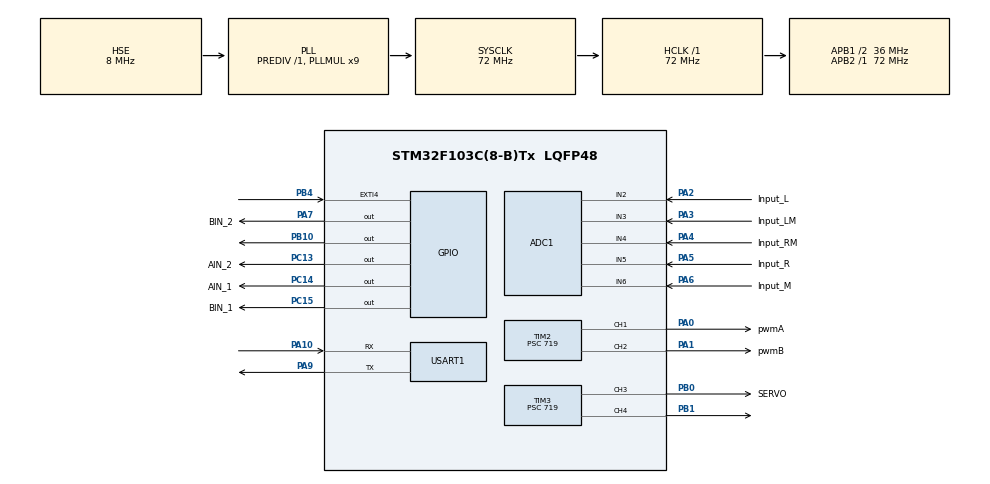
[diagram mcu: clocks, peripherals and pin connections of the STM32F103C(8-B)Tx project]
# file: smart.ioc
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ADC1.Channel-0\#ChannelRegularConversion=ADC_CHANNEL_3
ADC1.Channel-2\#ChannelRegularConversion=ADC_CHANNEL_4
ADC1.Channel-3\#ChannelRegularConversion=ADC_CHANNEL_5
ADC1.Channel-4\#ChannelRegularConversion=ADC_CHANNEL_6
ADC1.Channel-5\#ChannelRegularConversion=ADC_CHANNEL_2
ADC1.ContinuousConvMode=ENABLE
ADC1.NbrOfConversion=5
ADC1.NbrOfConversionFlag=1
ADC1.Rank-0\#ChannelRegularConversion=1
ADC1.Rank-2\#ChannelRegularConversion=2
ADC1.Rank-3\#ChannelRegularConversion=3
ADC1.Rank-4\#ChannelRegularConversion=4
ADC1.Rank-5\#ChannelRegularConversion=5
ADC1.SamplingTime-0\#ChannelRegularConversion=ADC_SAMPLETIME_239CYCLES_5
ADC1.SamplingTime-2\#ChannelRegularConversion=ADC_SAMPLETIME_239CYCLES_5
ADC1.SamplingTime-3\#ChannelRegularConversion=ADC_SAMPLETIME_239CYCLES_5
ADC1.SamplingTime-4\#ChannelRegularConversion=ADC_SAMPLETIME_239CYCLES_5
ADC1.SamplingTime-5\#ChannelRegularConversion=ADC_SAMPLETIME_239CYCLES_5
ADC1.master=1
Dma.ADC1.0.Direction=DMA_PERIPH_TO_MEMORY
Dma.ADC1.0.Instance=DMA1_Channel1
Dma.ADC1.0.MemDataAlignment=DMA_MDATAALIGN_HALFWORD
Dma.ADC1.0.MemInc=DMA_MINC_ENABLE
Dma.ADC1.0.Mode=DMA_CIRCULAR
Dma.ADC1.0.PeriphDataAlignment=DMA_PDATAALIGN_HALFWORD
Dma.ADC1.0.PeriphInc=DMA_PINC_DISABLE
Dma.ADC1.0.Priority=DMA_PRIORITY_HIGH
Dma.Request0=ADC1
Mcu.Family=STM32F1
Mcu.Name=STM32F103C(8-B)Tx
Mcu.Package=LQFP48
NVIC.ADC1_2_IRQn=true\:0\:0\:false\:false\:true\:true\:true\:true
NVIC.DMA1_Channel1_IRQn=true\:0\:0\:false\:false\:true\:false\:true\:true
NVIC.EXTI4_IRQn=true\:0\:0\:false\:false\:true\:true\:true\:true
NVIC.PriorityGroup=NVIC_PRIORITYGROUP_4
NVIC.TIM3_IRQn=true\:1\:0\:true\:false\:true\:true\:true\:true
NVIC.USART1_IRQn=true\:2\:0\:true\:false\:true\:true\:true\:true
PA0-WKUP.GPIO_Label=pwmA
PA0-WKUP.Signal=S_TIM2_CH1_ETR
PA1.GPIO_Label=pwmB
PA1.Signal=S_TIM2_CH2
PA10.Mode=Asynchronous
PA10.Signal=USART1_RX
PA2.GPIO_Label=Input_L
PA2.Signal=ADCx_IN2
PA3.GPIO_Label=Input_LM
PA3.Signal=ADCx_IN3
PA4.GPIO_Label=Input_RM
PA4.Signal=ADCx_IN4
PA5.GPIO_Label=Input_R
PA5.Signal=ADCx_IN5
PA6.GPIO_Label=Input_M
PA6.Signal=ADCx_IN6
PA7.GPIO_Label=BIN_2
PA7.Signal=GPIO_Output
PA9.Mode=Asynchronous
PA9.Signal=USART1_TX
PB0.GPIO_Label=SERVO
PB0.Signal=S_TIM3_CH3
PB1.Signal=S_TIM3_CH4
PB10.Signal=GPIO_Output
PB4.Signal=GPXTI4
PC13-TAMPER-RTC.GPIO_Label=AIN_2
PC13-TAMPER-RTC.Signal=GPIO_Output
PC14-OSC32_IN.GPIO_Label=AIN_1
PC14-OSC32_IN.Signal=GPIO_Output
PC15-OSC32_OUT.GPIO_Label=BIN_1
PC15-OSC32_OUT.Signal=GPIO_Output
PD0-OSC_IN.Mode=HSE-External-Oscillator
PD0-OSC_IN.Signal=RCC_OSC_IN
PD1-OSC_OUT.Mode=HSE-External-Oscillator
PD1-OSC_OUT.Signal=RCC_OSC_OUT
ProjectManager.HeapSize=0x200
ProjectManager.StackSize=0x400
ProjectManager.TargetToolchain=STM32CubeIDE
RCC.ADCPresc=RCC_ADCPCLK2_DIV6
RCC.AHBFreq_Value=72000000
RCC.APB1CLKDivider=RCC_HCLK_DIV2
RCC.APB1Freq_Value=36000000
RCC.APB1TimFreq_Value=72000000
RCC.APB2Freq_Value=72000000
RCC.APB2TimFreq_Value=72000000
RCC.HCLKFreq_Value=72000000
RCC.PLLMUL=RCC_PLL_MUL9
RCC.PLLSourceVirtual=RCC_PLLSOURCE_HSE
RCC.SYSCLKFreq_VALUE=72000000
RCC.SYSCLKSource=RCC_SYSCLKSOURCE_PLLCLK
RCC.USBFreq_Value=72000000
SH.ADCx_IN2.0=ADC1_IN2,IN2
SH.ADCx_IN3.0=ADC1_IN3,IN3
SH.ADCx_IN4.0=ADC1_IN4,IN4
SH.ADCx_IN5.0=ADC1_IN5,IN5
SH.ADCx_IN6.0=ADC1_IN6,IN6
SH.S_TIM2_CH1_ETR.0=TIM2_CH1,PWM Generation1 CH1
SH.S_TIM2_CH2.0=TIM2_CH2,PWM Generation2 CH2
SH.S_TIM3_CH3.0=TIM3_CH3,PWM Generation3 CH3
SH.S_TIM3_CH4.0=TIM3_CH4,PWM Generation4 CH4
TIM2.Channel-PWM\ Generation1\ CH1=TIM_CHANNEL_1
TIM2.Channel-PWM\ Generation2\ CH2=TIM_CHANNEL_2
TIM2.OCMode_PWM-PWM\ Generation1\ CH1=TIM_OCMODE_PWM1
TIM2.OCMode_PWM-PWM\ Generation2\ CH2=TIM_OCMODE_PWM1
TIM2.Period=1999
TIM2.Prescaler=719
TIM3.AutoReloadPreload=TIM_AUTORELOAD_PRELOAD_DISABLE
TIM3.Channel-PWM\ Generation3\ CH3=TIM_CHANNEL_3
TIM3.Channel-PWM\ Generation4\ CH4=TIM_CHANNEL_4
TIM3.OCMode_PWM-PWM\ Generation3\ CH3=TIM_OCMODE_PWM2
TIM3.OCMode_PWM-PWM\ Generation4\ CH4=TIM_OCMODE_PWM2
TIM3.Period=1999
TIM3.Prescaler=719
USART1.VirtualMode=VM_ASYNC
VP_SYS_VS_ND.Mode=No_Debug
VP_TIM2_VS_ClockSourceINT.Mode=Internal
VP_TIM3_VS_ClockSourceINT.Mode=Internal
board=custom

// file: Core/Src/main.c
/* USER CODE BEGIN Header */
/**
  ******************************************************************************
  * @file           : main.c
  * @brief          : Main program body
  ******************************************************************************
  * @attention
  *
  * Copyright (c) 2023 STMicroelectronics.
  * All rights reserved.
  *
  * This software is licensed under terms that can be found in the LICENSE file
  * in the root directory of this software component.
  * If no LICENSE file comes with this software, it is provided AS-IS.
  *
  ******************************************************************************
  */
/* USER CODE END Header */
#include "main.h"
#include "adc.h"
#include "dma.h"
#include "tim.h"
#include "usart.h"
#include "gpio.h"

/* USER CODE BEGIN Includes */
#include "pidcontrol.h"
#include <math.h>
#include <string.h>
#include <stdio.h>
#include "relocated.h" //重定向printf到串�????
#include "servo.h"
#include "queue.h"
#include "stringProcess.h"
/* USER CODE END Includes */

/* USER CODE BEGIN PD */
#pragma clang diagnostic push
#pragma ide diagnostic ignored "EndlessLoop"
#define RXBUFFERSIZE 32
/* USER CODE END PD */

/* USER CODE BEGIN PV */
uint16_t adc_value[25] = {0}; // 保存ADC采样�????
/* USER CODE END PV */

void SystemClock_Config(void);

/* USER CODE BEGIN 0 */
_Bool initFlag = 1;
_Bool crossFlag = 0;
uint8_t forkFlag = 0;
short stopFlag = 0;
char rxBuffer;
char RxBuffer[RXBUFFERSIZE];
uint16_t count = 0;
//float middleValue[10] = {0};
int Uart1_Rx_Cnt = 0;
int middleValueCount = 0;
//Queue middleValueQueue;
float middleResult = 0;
PID piddata;
//FuzzyPID piddata;
float speed = Startup_Speed;
_Bool auto_mode = 1;
//过滤后的数据
float dat_L = 0;
float dat_LM = 0;
float dat_RM = 0;
float dat_R = 0;
float angle = 0;
//过滤算法缓冲�????
RollingMeanFilter da0, da1, da2, da3, da4,dac;
_Bool isRound = 0;
uint8_t roundCount = 0;
uint8_t crossCount = 0;
uint8_t tiggerCount = 0;
_Bool roundFlag1 = 0;
_Bool roundFlag2 = 0;
_Bool isRightRound = 0;
_Bool TimerRoundEN = 0;
_Bool TimerCrossEN = 0;
_Bool isEnd = 0;
uint32_t TimerCount = 0;
uint32_t TimerCorssCount = 0;
float offset = 0;
float N_fabs(float d);

/* USER CODE END 0 */

int main(void)
{
  /* USER CODE BEGIN 1 */
//Q: 请问adrc算法的数学原理是�????么？

  /* USER CODE END 1 */

  /* MCU Configuration--------------------------------------------------------*/

  /* Reset of all peripherals, Initializes the Flash interface and the Systick. */
  HAL_Init();

  /* USER CODE BEGIN Init */
    float df0[10] = {0}, df1[10] = {0}, df2[10] = {0}, df3[10] = {0}, df4[10] = {0},dat_c[200] = {0};
    RollingMeanFilter_init(&da0, df0, 10);
    RollingMeanFilter_init(&da1, df1, 10);
    RollingMeanFilter_init(&da2, df2, 10);
    RollingMeanFilter_init(&da3, df3, 10);
    RollingMeanFilter_init(&da4, df4, 10);
    RollingMeanFilter_init(&dac,dat_c,200);

  /* USER CODE END Init */

  /* Configure the system clock */
  SystemClock_Config();

  /* USER CODE BEGIN SysInit */
    RetargetInit(&huart1);

  /* USER CODE END SysInit */

  /* Initialize all configured peripherals */
  MX_GPIO_Init();
  MX_DMA_Init();
  MX_ADC1_Init();
  MX_TIM2_Init();
  MX_TIM3_Init();
  MX_USART1_UART_Init();
  /* USER CODE BEGIN 2 */
    HAL_ADCEx_Calibration_Start(&hadc1); // 启动ADC校准
    HAL_TIM_PWM_Start(&htim2, TIM_CHANNEL_1); // 启动PWM输出
    HAL_TIM_PWM_Start(&htim2, TIM_CHANNEL_2);
    __HAL_TIM_SET_COMPARE(&htim2, TIM_CHANNEL_1, 500); // 设置PWM占空�????
    __HAL_TIM_SET_COMPARE(&htim2, TIM_CHANNEL_2, 500);
    __HAL_TIM_SetCompare(&htim3, TIM_CHANNEL_3, 1800);
    __HAL_TIM_SetCompare(&htim3, TIM_CHANNEL_4, 1800);
    HAL_TIM_PWM_Start(&htim3, TIM_CHANNEL_3);
    HAL_TIM_PWM_Start(&htim3, TIM_CHANNEL_4);
//    HAL_GPIO_EXTI_Callback(BEED_PIN_Pin);
    HAL_TIM_Base_Start_IT(&htim3); // 启动定时�????3中断
    HAL_UART_Receive_IT(&huart1, (uint8_t *) &rxBuffer, 1);
    HAL_GPIO_WritePin(GPIOB, GPIO_PIN_10, GPIO_PIN_SET);//使能电机
    //初始化PID
    PID_init(&piddata, KP, KI, KD, A, B, C, 0);
    // 位置式PID
    // 数据1�????2是左侧，3�????4是右�????
//    QueueInit(&middleValueQueue);

  /* USER CODE END 2 */

  /* Infinite loop */
  /* USER CODE BEGIN WHILE */

    while (1) {
        //处理采集回来的adc数据
        //其中adc_value[0]和adc_value[1]是左侧的数据，adc_value[2]和adc_value[3]是右侧的数据
        //采用滚动均�?�滤波算法进行处�????,并计算左右两侧的差�??
        HAL_ADC_Start_DMA(&hadc1, (uint32_t *) adc_value, 25); // 启动ADC采样
        if (initFlag) {
            //TODO: 出库部分代码逻辑
            speed_control(100);
            servo_control(0);
            HAL_Delay(500);
            servo_control(20);
            HAL_Delay(1200);
            //servo_control(0);
//            speed = 100;
            speed_control(0);

            initFlag = 0;
        }
        if (isEnd)
        {
            speed_control(60);
            HAL_Delay(200);
            speed_control(-60);
            servo_control(-20);
            HAL_Delay(1500);
            servo_control(0);
            speed_control(0);
            return 0;
        }
        if (isRound) {
//            __HAL_TIM_CLEAR_FLAG(&htim3, TIM_FLAG_UPDATE);
            HAL_TIM_Base_Stop_IT(&htim3);
//            HAL_Delay(20);
            if (!isRightRound)
            {
                servo_control(20);
            } else{
                servo_control(-20);
            }

            HAL_Delay(500);
            isRound = 0;
            isRightRound = 0;
            HAL_TIM_Base_Start_IT(&htim3);
        }
        if (crossFlag) {
//            __HAL_TIM_CLEAR_FLAG(&htim3, TIM_FLAG_UPDATE);
            HAL_TIM_Base_Stop_IT(&htim3);
            HAL_Delay(700);
            crossFlag = 0;
            servo_control(angle);
            HAL_TIM_Base_Start_IT(&htim3);
        }
        if (forkFlag == 1) {
            __HAL_TIM_CLEAR_FLAG(&htim3, TIM_FLAG_UPDATE);
            HAL_TIM_Base_Stop_IT(&htim3);
            servo_control(+20);
            HAL_Delay(350);
            forkFlag++;//处于分叉1�????
            HAL_TIM_Base_Start_IT(&htim3);
        } else if (forkFlag == 4) {
            __HAL_TIM_CLEAR_FLAG(&htim3, TIM_FLAG_UPDATE);
            HAL_TIM_Base_Stop_IT(&htim3);
            servo_control(-20);
            HAL_Delay(350);
            forkFlag++;//处于分叉2�????
            HAL_TIM_Base_Start_IT(&htim3);
        }
        if (auto_mode) {
            if (adc_value[0] >= 4096 || adc_value[0] <= 0 || adc_value[1] >= 4096 || adc_value[1] <= 0 ||
                adc_value[2] >= 4096 || adc_value[2] <= 0 || adc_value[3] >= 4096 || adc_value[3] <= 0 ||
                adc_value[4] >= 4096 || adc_value[4] <= 0) {
                continue;
            }
            dat_L = RollingMeanFilter_calculate(&da0, adc_value[0]);
            dat_LM = RollingMeanFilter_calculate(&da1, adc_value[1]);
            dat_RM = RollingMeanFilter_calculate(&da2, adc_value[2]);
            dat_R = RollingMeanFilter_calculate(&da3, adc_value[3]);
            middleResult = RollingMeanFilter_calculate(&da4, adc_value[4]);
            offset = (piddata.a * (dat_LM - dat_RM) + piddata.b * (dat_L - dat_R)) /
                     (piddata.a * (dat_LM + dat_RM) + N_fabs((piddata.c * (dat_L - dat_R))));

            //计算PID
//            angle = PID_calculate(&piddata, (piddata.a * (dat_L - dat_R) + piddata.b * (dat_LM - dat_RM)) /
//                                            (piddata.a * (dat_L + dat_R) + N_fabs((piddata.c * (dat_LM - dat_RM)))));

                angle = PID_calculate(&piddata, -offset);
        }
        //输出PWM
        servo_control(angle);
        speed_control(speed);
    }
    /* USER CODE END WHILE */

    /* USER CODE BEGIN 3 */
    //Q: 位置式PID和增量式PID的区别？
    //A: 位置式PID是根据当前位置和目标位置计算出需要的增量，然后再加上当前位置，得到目标位�????
    //   增量式PID是根据当前位置和目标位置计算出需要的增量，然后直接加上当前位置，得到目标位置
    //   位置式PID的优点是可以减少积分误差，缺点是增量式PID的响应�?�度更快
    //Q: 为什么要用PID�????
    //A: 因为PID可以使得电机的转速更加平滑，更加稳定
    //Q: 针对SG90舵机，应该采用哪种PWM值？
    //A: 500-2500�????500是最小�?�，2500是最大�??
    //Q: 在psc=72,arr=500,主频=72MHZ的情况下，PWM的周期是多少�????
    //A: 1/144HZ=6.94ms

  /* USER CODE END 3 */
}

void SystemClock_Config(void)
{
  RCC_OscInitTypeDef RCC_OscInitStruct = {0};
  RCC_ClkInitTypeDef RCC_ClkInitStruct = {0};
  RCC_PeriphCLKInitTypeDef PeriphClkInit = {0};

  /** Initializes the RCC Oscillators according to the specified parameters
  * in the RCC_OscInitTypeDef structure.
  */
  RCC_OscInitStruct.OscillatorType = RCC_OSCILLATORTYPE_HSE;
  RCC_OscInitStruct.HSEState = RCC_HSE_ON;
  RCC_OscInitStruct.HSEPredivValue = RCC_HSE_PREDIV_DIV1;
  RCC_OscInitStruct.HSIState = RCC_HSI_ON;
  RCC_OscInitStruct.PLL.PLLState = RCC_PLL_ON;
  RCC_OscInitStruct.PLL.PLLSource = RCC_PLLSOURCE_HSE;
  RCC_OscInitStruct.PLL.PLLMUL = RCC_PLL_MUL9;
  if (HAL_RCC_OscConfig(&RCC_OscInitStruct) != HAL_OK)
  {
    Error_Handler();
  }

  /** Initializes the CPU, AHB and APB buses clocks
  */
  RCC_ClkInitStruct.ClockType = RCC_CLOCKTYPE_HCLK|RCC_CLOCKTYPE_SYSCLK
                              |RCC_CLOCKTYPE_PCLK1|RCC_CLOCKTYPE_PCLK2;
  RCC_ClkInitStruct.SYSCLKSource = RCC_SYSCLKSOURCE_PLLCLK;
  RCC_ClkInitStruct.AHBCLKDivider = RCC_SYSCLK_DIV1;
  RCC_ClkInitStruct.APB1CLKDivider = RCC_HCLK_DIV2;
  RCC_ClkInitStruct.APB2CLKDivider = RCC_HCLK_DIV1;

  if (HAL_RCC_ClockConfig(&RCC_ClkInitStruct, FLASH_LATENCY_2) != HAL_OK)
  {
    Error_Handler();
  }
  PeriphClkInit.PeriphClockSelection = RCC_PERIPHCLK_ADC;
  PeriphClkInit.AdcClockSelection = RCC_ADCPCLK2_DIV6;
  if (HAL_RCCEx_PeriphCLKConfig(&PeriphClkInit) != HAL_OK)
  {
    Error_Handler();
  }
}

/* USER CODE BEGIN 4 */
float N_fabs(float d) {
    if (d < 0) {
        return -d;
    }
    return d;
}

void HAL_TIM_PeriodElapsedCallback(TIM_HandleTypeDef *htim) {

//        printf("angle:%f\r\n",angle);
    UNUSED(htim);
    //采用队列的方式保存中间传感器经过过滤后的�????
    //TODO: 十字路口取�??
//        if (middleResult >= 2000 && dat_LM <= 250 && dat_L >= 2000)
//            //处在十字路口
//        {
//
//            if (crossFlag == 0) {
//                printf("cross!!!\r\n");
//                crossFlag = 1;
//                //执行进入十字路口的处�????
////                HAL_Delay(10);
//            } else {
//                crossFlag = 0;
//                //执行离开十字路口的处�????
////                HAL_Delay(10);
//            }
//        }
//    if (count < 5) {
//        count++;
//    } else
////
//    {
//        printf("data:%f,%f,%f,%f,%f\r\n", dat_L, dat_LM, dat_RM, dat_R, middleResult);
////        printf("data: %f,%f,%f \r\n", dat_LM, dat_RM, (float) ((dat_L-dat_R)/(dat_LM - dat_RM)));
//        count = 0;
//    }

   // TODO: 环岛区域判断—�?�未测试
    if (TimerRoundEN) {
        if (TimerCount < 200) {
            TimerCount++;
        } else {
            roundFlag1 = 0;
            roundFlag2 = 0;
            TimerRoundEN = 0;
            TimerCount = 0;
            printf("Round: reset!\r\n");
        }
    }
    if (TimerCrossEN) {
        if (TimerCorssCount < 150) {
            TimerCorssCount++;
        } else {
            TimerCrossEN = 0;
            TimerCorssCount = 0;
        }
    }
        if (N_fabs(angle) > 5) {
            return;
        }

        if (!roundFlag1 && adc_value[4] >= 1300 && fabsf(dat_LM-dat_RM) > 1500) {
            printf("flag1_L\r\n");
            roundFlag1 = 1;
            TimerRoundEN = 1;
            isRightRound = 0;
            }
//        else if (!roundFlag1 && adc_value[4] >= 1300 && dat_L-dat_R < -2000)
//        {
//            printf("flag1_R\r\n");
//            roundFlag1=1;
//            TimerRoundEN = 1;
//            isRightRound = 1;
//        }
        if (roundFlag1 && adc_value[4] <= 600) {
            printf("flag2\r\n");
            roundFlag2 = 1;
            printf("round!\r\n");
            TimerRoundEN = 0;
            TimerCount = 0;
            roundFlag1 = 0;
            roundFlag2 = 0;
            isRound = 1;

        }

//        if (roundFlag2 && adc_value[0] >= 2000) {
//            //环岛区域
//            printf("flag3\r\n");
//            printf("round!\r\n");
//            TimerRoundEN = 0;
//            TimerCount = 0;
//            roundFlag1 = 0;
//            roundFlag2 = 0;
//            roundFlag3 = 0;
//            isRound = 1;
//        }
        //进入分叉路口
        /**
         * ForkFlag:
         * 0--未进入分叉路�????
         * 1--第一次进入分叉路�????
         * 2--在第�????次分叉路口中
         * 3--第一次离�????分叉路口
         * 4--第二次进入分叉路�????
         * 5--在第二次分叉路口�????
         * 0--第二次离�????分叉路口 !!!将会被reset�????0
        */
        //TODO: 分叉路口区域判断—�?�待修改阈�??
        if (!isRound && !TimerCrossEN && middleResult < 400 && dat_R > 1750 && dat_L > 1750 && (dat_RM < 300 || dat_LM <300)) {
//    if (!isRound && !TimerCrossEN && fabsf(dat_LM-dat_RM)< 200 && dat_RM<300 && dat_LM <300 && dat_R > 2000 && dat_L > 2000){
            TimerCrossEN = 1;
            if (forkFlag == 0) {
                forkFlag++;
                //执行进入分叉路口1的处�????
            } else if (forkFlag == 2) {
                forkFlag+=2;
                //执行离开分叉路口1的处�????
            } else if (forkFlag == 3) {
                forkFlag++;
                //执行进入分叉路口2的处�????
            } else if (forkFlag == 5) {
                forkFlag = 0;
                //执行离开分叉路口2的处�????
            }
            printf("fork!!! count:%d\r\n", forkFlag);
        }

}
void HAL_GPIO_EXTI_Callback(uint16_t GPIO_Pin) {
        printf("stop: %hd\r\n", stopFlag);
        stopFlag++;
        if (stopFlag >= 2) {
            // TODO: 入库
            printf("stop!!!\r\n");
            isEnd = 1;
        }

}

#pragma clang diagnostic push
#pragma ide diagnostic ignored "cert-err34-c"

void HAL_UART_RxCpltCallback(UART_HandleTypeDef *huart) {

    if (Uart1_Rx_Cnt >= RXBUFFERSIZE)  //溢出判断?
    {
        UNUSED(huart);
        Uart1_Rx_Cnt = 0;
        memset(RxBuffer, 0x00, sizeof(RxBuffer));
        HAL_UART_Transmit(&huart1, (uint8_t *) "数据溢出", 12, 0xFFFF);

    } else {
        RxBuffer[Uart1_Rx_Cnt++] = rxBuffer;   //接收数据转存
        if (RxBuffer[Uart1_Rx_Cnt - 1] == '#') //判断结束�????
        {
            if (strstr(RxBuffer, "stop") != NULL) {
                //执行停车操作
             isEnd = 1;
            } else if (strstr(RxBuffer, "setKP") != NULL) {
                //修改PID参数-比例系数
                getSet(RxBuffer, 5, &piddata.kp);

            } else if (strstr(RxBuffer, "setKI") != NULL) {
                //修改PID参数-积分系数
                getSet(RxBuffer, 5, &piddata.ki);
            } else if (strstr(RxBuffer, "setKD") != NULL) {
                //修改PID参数-微分系数
                getSet(RxBuffer, 5, &piddata.kd);

            } else if (strstr(RxBuffer, "setA") != NULL) {
                getSet(RxBuffer, 4, &piddata.a);
            } else if (strstr(RxBuffer, "setB") != NULL) {
                getSet(RxBuffer, 4, &piddata.b);

            } else if (strstr(RxBuffer, "setC") != NULL) {
                getSet(RxBuffer, 4, &piddata.c);
            } else if (strstr(RxBuffer, "setSpeed") != NULL) {
                //修改速度
                getSet(RxBuffer, 8, &speed);

            } else if (strstr(RxBuffer, "start") != NULL) {
                // �????始运�????

            } else if (strstr(RxBuffer, "what") != NULL) {
                //返回当前的参�????
                printf("当前参数�????:\r\n");
                printf("速度:%f\r\n", speed);
                printf("a:%f\r\n", piddata.a);
                printf("b:%f\r\n", piddata.b);
                printf("c:%f\r\n", piddata.c);
                printf("kp:%f\r\n", piddata.kp);
                printf("ki:%f\r\n", piddata.ki);
                printf("kd:%f\r\n", piddata.kd);
                printf("angle:%f\r\n", angle);

            } else if (strstr(RxBuffer, "SetAutoMode")) {
                //设置自动模式
                auto_mode = !auto_mode;
                if (auto_mode) {
                    printf("自动模式已开启\r\n");
                } else {
                    printf("自动模式已关闭\r\n");
                }

            } else if (strstr(RxBuffer, "SetAngle")) {
                //判断自动模式是否关闭
                if (auto_mode) {
                    printf("自动模式已开�????,请先关闭自动模式\r\n");
                    return;
                }

                //设置角度
                getSet(RxBuffer, 8, &angle);
            } else if (strstr(RxBuffer, "help") != NULL) {
                //显示帮助信息
                printf("帮助信息:\r\n");
                printf("stop:停车\r\n");
                printf("start:�????始运行\r\n");
                printf("setSpeed:设置速度\r\n");
                printf("setA:设置a\r\n");
                printf("setB:设置b\r\n");
                printf("setC:设置c\r\n");
                printf("setKP:设置比例系数\r\n");
                printf("setKI:设置积分系数\r\n");
                printf("setKD:设置微分系数\r\n");
                printf("what:返回当前参数\r\n");

                printf("SetAutoMode:设置自动模式\r\n");
                printf("SetAngle:设置角度\r\n");
                printf("data:返回当前传感器数据\r\n");

            } else if (strstr(RxBuffer, "data") != NULL) {
                // 获取当前传感器数�????
                printf("当前传感器数据为:\r\n");
                printf("左侧传感器L:%f  \tRAW:%hu \r\n", dat_L, adc_value[0]);
                printf("左侧传感器LM:%f  \tRAW:%hu \r\n", dat_LM, adc_value[1]);
                printf("右侧传感器RM:%f  \tRAW:%hu \r\n", dat_RM, adc_value[2]);
                printf("右侧传感器R:%f  \tRAW:%hu \r\n", dat_R, adc_value[3]);
                printf("中间传感器M:%f  \tRAW:%hu \r\n", middleResult, adc_value[4]);

            } else if (strstr(RxBuffer, "resetPID") != NULL) {
                PID_init(&piddata, piddata.kp, piddata.ki, piddata.kd, piddata.a, piddata.b, piddata.c, 0.0f);
            }
            else if (strstr(RxBuffer, "whatf") != NULL) {
                printf("i:%f,%f,%f,%f,%f",dat_L,dat_LM,dat_RM,dat_R,middleResult);
            }
            else {
                //数据错误
                printf("数据错误\r\n");
            }
            Uart1_Rx_Cnt = 0;
            memset(RxBuffer, 0x00, sizeof(RxBuffer)); //清空数组
        }
    }
    HAL_UART_Receive_IT(&huart1, (uint8_t *) &rxBuffer, 1);   //再开启接收中�????
}

#pragma clang diagnostic pop

/* USER CODE END 4 */

void Error_Handler(void)
{
    __disable_irq();
    while (1) {
    }
}
